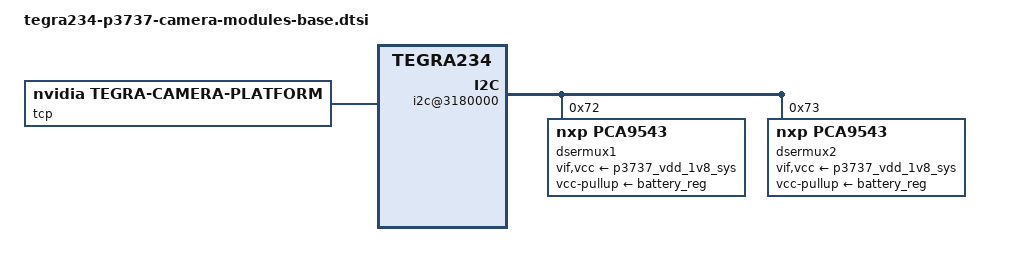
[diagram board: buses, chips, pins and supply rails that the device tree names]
/*
* Copyright (c) 2022, NVIDIA CORPORATION.  All rights reserved.
*
* This program is free software; you can redistribute it and/or modify it
* under the terms and conditions of the GNU General Public License,
* version 2, as published by the Free Software Foundation.
*
* This program is distributed in the hope it will be useful, but WITHOUT
* ANY WARRANTY; without even the implied warranty of MERCHANTABILITY or
* FITNESS FOR A PARTICULAR PURPOSE.  See the GNU General Public License for
* more details.
*
* You should have received a copy of the GNU General Public License
* along with this program.  If not, see <http://www.gnu.org/licenses/>.
*/

/* camera control gpio definitions */
#define CAM0_PWDN	TEGRA234_MAIN_GPIO(H, 6)
#define CAM1_PWDN	TEGRA234_MAIN_GPIO(AC, 0)
#define CAM2_PWDN	TEGRA234_MAIN_GPIO(H, 3)
#define CAM3_PWDN	TEGRA234_MAIN_GPIO(AC, 1)
#define CAMERA_I2C_MUX_BUS(x) (0x1E + x)

/ {
	/* all cameras are disabled by default */
	capture_vi_base: tegra-capture-vi {
		ports {
			vi_port0: port@0 {
				reg = <0>;
				status = "disabled";
				vi_in0: endpoint {
					vc-id = <0>;
					status = "disabled";
				};
			};
			vi_port1: port@1 {
				reg = <1>;
				status = "disabled";
				vi_in1: endpoint {
					vc-id = <0>;
					status = "disabled";
				};
			};
			vi_port2: port@2 {
				reg = <2>;
				status = "disabled";
				vi_in2: endpoint {
					vc-id = <0>;
					status = "disabled";
				};
			};
			vi_port3: port@3 {
				reg = <3>;
				status = "disabled";
				vi_in3: endpoint {
					vc-id = <0>;
					status = "disabled";
				};
			};
			vi_port4: port@4 {
				reg = <4>;
				status = "disabled";
				vi_in4: endpoint {
					vc-id = <0>;
					status = "disabled";
				};
			};
			vi_port5: port@5 {
				reg = <5>;
				status = "disabled";
				vi_in5: endpoint {
					vc-id = <0>;
					status = "disabled";
				};
			};
			vi_port6: port@6 {
				reg = <6>;
				status = "disabled";
				vi_in6: endpoint {
					vc-id = <0>;
					status = "disabled";
				};
			};
			vi_port7: port@7 {
				reg = <7>;
				status = "disabled";
				vi_in7: endpoint {
					vc-id = <0>;
					status = "disabled";
				};
			};
		};
	};

	host1x@13e00000 {
		csi_base: nvcsi@15a00000 {
			num-channels = <8>;
			#address-cells = <1>;
			#size-cells = <0>;

			csi_chan0: channel@0 {
				reg = <0>;
				status = "disabled";
				ports {
					#address-cells = <1>;
					#size-cells = <0>;

					csi_chan0_port0: port@0 {
						reg = <0>;
						status = "disabled";

						csi_in0: endpoint@0 {
							status = "disabled";
						};
					};

					csi_chan0_port1: port@1 {
						reg = <1>;
						status = "disabled";
						csi_out0: endpoint@1 {
							status = "disabled";
						};
					};
				};
			};

			csi_chan1: channel@1 {
				reg = <1>;
				status = "disabled";
				ports {
					#address-cells = <1>;
					#size-cells = <0>;
					csi_chan1_port0: port@0 {
						reg = <0>;
						status = "disabled";
						csi_in1: endpoint@2 {
							status = "disabled";
						};
					};
					csi_chan1_port1: port@1 {
						reg = <1>;
						status = "disabled";
						csi_out1: endpoint@3 {
							status = "disabled";
						};
					};
				};
			};

			csi_chan2: channel@2 {
				reg = <2>;
				status = "disabled";
				ports {
					#address-cells = <1>;
					#size-cells = <0>;
					csi_chan2_port0: port@0 {
						reg = <0>;
						status = "disabled";
						csi_in2: endpoint@4 {
							status = "disabled";
						};
					};
					csi_chan2_port1: port@1 {
						reg = <1>;
						status = "disabled";
						csi_out2: endpoint@5 {
							status = "disabled";
						};
					};
				};
			};

			csi_chan3: channel@3 {
				reg = <3>;
				status = "disabled";
				ports {
					#address-cells = <1>;
					#size-cells = <0>;
					csi_chan3_port0: port@0 {
						reg = <0>;
						status = "disabled";
						csi_in3: endpoint@6 {
							status = "disabled";
						};
					};
					csi_chan3_port1: port@1 {
						reg = <1>;
						status = "disabled";
						csi_out3: endpoint@7 {
							status = "disabled";
						};
					};
				};
			};

			csi_chan4: channel@4 {
				reg = <4>;
				status = "disabled";
				ports {
					#address-cells = <1>;
					#size-cells = <0>;
					csi_chan4_port0: port@0 {
						reg = <0>;
						status = "disabled";
						csi_in4: endpoint@8 {
							status = "disabled";
						};
					};
					csi_chan4_port1: port@1 {
						reg = <1>;
						status = "disabled";
						csi_out4: endpoint@9 {
							status = "disabled";
						};
					};
				};
			};

			csi_chan5: channel@5 {
				reg = <5>;
				status = "disabled";
				ports {
					#address-cells = <1>;
					#size-cells = <0>;
					csi_chan5_port0: port@0 {
						reg = <0>;
						status = "disabled";
						csi_in5: endpoint@10 {
							status = "disabled";
						};
					};
					csi_chan5_port1: port@1 {
						reg = <1>;
						status = "disabled";
						csi_out5: endpoint@11 {
							status = "disabled";
						};
					};
				};
			};

			csi_chan6: channel@6 {
				reg = <6>;
				status = "disabled";
				ports {
					#address-cells = <1>;
					#size-cells = <0>;
					csi_chan6_port0: port@0 {
						reg = <0>;
						status = "disabled";
						csi_in6: endpoint@12 {
							status = "disabled";
						};
					};
					csi_chan6_port1: port@1 {
						reg = <1>;
						status = "disabled";
						csi_out6: endpoint@13 {
							status = "disabled";
						};
					};
				};
			};

			csi_chan7: channel@7 {
				reg = <7>;
				status = "disabled";
				ports {
					#address-cells = <1>;
					#size-cells = <0>;
					csi_chan7_port0: port@0 {
						reg = <0>;
						status = "disabled";
						csi_in7: endpoint@14 {
							status = "disabled";
						};
					};
					csi_chan7_port1: port@1 {
						reg = <1>;
						status = "disabled";
						csi_out7: endpoint@15 {
							status = "disabled";
						};
					};
				};
			};
		};
	};

	tcp: tegra-camera-platform {
		compatible = "nvidia, tegra-camera-platform";

		/**
		* Physical settings to calculate max ISO BW
		*
		* num_csi_lanes = <>;
		* Total number of CSI lanes when all cameras are active
		*
		* max_lane_speed = <>;
		* Max lane speed in Kbit/s
		*
		* min_bits_per_pixel = <>;
		* Min bits per pixel
		*
		* vi_peak_byte_per_pixel = <>;
		* Max byte per pixel for the VI ISO case
		*
		* vi_bw_margin_pct = <>;
		* Vi bandwidth margin in percentage
		*
		* max_pixel_rate = <>;
		* Max pixel rate in Kpixel/s for the ISP ISO case
		*
		* isp_peak_byte_per_pixel = <>;
		* Max byte per pixel for the ISP ISO case
		*
		* isp_bw_margin_pct = <>;
		* Isp bandwidth margin in percentage
		*/
		num_csi_lanes = <8>;
		max_lane_speed = <4000000>;
		min_bits_per_pixel = <10>;	// FIX:* 10
		vi_peak_byte_per_pixel = <2>;
		vi_bw_margin_pct = <25>;
		//max_pixel_rate = <800000>;	// FIX:? 160|200|300|750
		isp_peak_byte_per_pixel = <5>;
		isp_bw_margin_pct = <25>;

		modules {
			cam_module0: module0 {
				status = "disabled";
				cam_module0_drivernode0: drivernode0 {
					status = "disabled";
				};
				cam_module0_drivernode1: drivernode1 {
					status = "disabled";
					pcl_id = "v4l2_lens";
				};
			};
			cam_module1: module1 {
				status = "disabled";
				cam_module1_drivernode0: drivernode0 {
					status = "disabled";
				};
				cam_module1_drivernode1: drivernode1 {
					status = "disabled";
					pcl_id = "v4l2_lens";
				};
			};
			cam_module2: module2 {
				status = "disabled";
				cam_module2_drivernode0: drivernode0 {
					status = "disabled";
				};
				cam_module2_drivernode1: drivernode1 {
					status = "disabled";
					pcl_id = "v4l2_lens";
				};
			};
			cam_module3: module3 {
				status = "disabled";
				cam_module3_drivernode0: drivernode0 {
					status = "disabled";
				};
				cam_module3_drivernode1: drivernode1 {
					status = "disabled";
					pcl_id = "v4l2_lens";
				};
			};
			cam_module4: module4 {
				status = "disabled";
				cam_module4_drivernode0: drivernode0 {
					status = "disabled";
				};
				cam_module4_drivernode1: drivernode1 {
					status = "disabled";
					pcl_id = "v4l2_lens";
				};
			};
			cam_module5: module5 {
				status = "disabled";
				cam_module5_drivernode0: drivernode0 {
					status = "disabled";
				};
				cam_module5_drivernode1: drivernode1 {
					status = "disabled";
					pcl_id = "v4l2_lens";
				};
			};
			cam_module6: module6 {
				status = "disabled";
				cam_module6_drivernode0: drivernode0 {
					status = "disabled";
				};
				cam_module6_drivernode1: drivernode1 {
					status = "disabled";
					pcl_id = "v4l2_lens";
				};
			};
			cam_module7: module7 {
				status = "disabled";
				cam_module7_drivernode0: drivernode0 {
					status = "disabled";
				};
				cam_module7_drivernode1: drivernode1 {
					status = "disabled";
					pcl_id = "v4l2_lens";
				};
			};
		};
	};

	i2c@3180000 {
		dsermux1: tca9543@72 {
			compatible = "nxp,pca9543";
			reg = <0x72>;
			#address-cells = <1>;
			#size-cells = <0>;
			skip_mux_detect = "yes";
			vif-supply = <&p3737_vdd_1v8_sys>;
			vcc-supply = <&p3737_vdd_1v8_sys>;
			vcc-pullup-supply = <&battery_reg>;
			force_bus_start = <CAMERA_I2C_MUX_BUS(0)>;

			i2c@0 {
				reg = <0>;
				i2c-mux,deselect-on-exit;
				#address-cells = <1>;
				#size-cells = <0>;
			};

			i2c@1 {
				reg = <1>;
				i2c-mux,deselect-on-exit;
				#address-cells = <1>;
				#size-cells = <0>;
			};
		};

		dsermux2: tca9543@73 {
			compatible = "nxp,pca9543";
			reg = <0x73>;
			#address-cells = <1>;
			#size-cells = <0>;
			skip_mux_detect = "yes";
			vif-supply = <&p3737_vdd_1v8_sys>;
			vcc-supply = <&p3737_vdd_1v8_sys>;
			vcc-pullup-supply = <&battery_reg>;
			force_bus_start = <CAMERA_I2C_MUX_BUS(2)>;

			i2c@0 {
				reg = <0>;
				i2c-mux,deselect-on-exit;
				address-cells = <1>;
				#size-cells = <0>;
			};

			i2c@1 {
				reg = <1>;
				i2c-mux,deselect-on-exit;
				#address-cells = <1>;
				#size-cells = <0>;
			};
		};
	};
};
